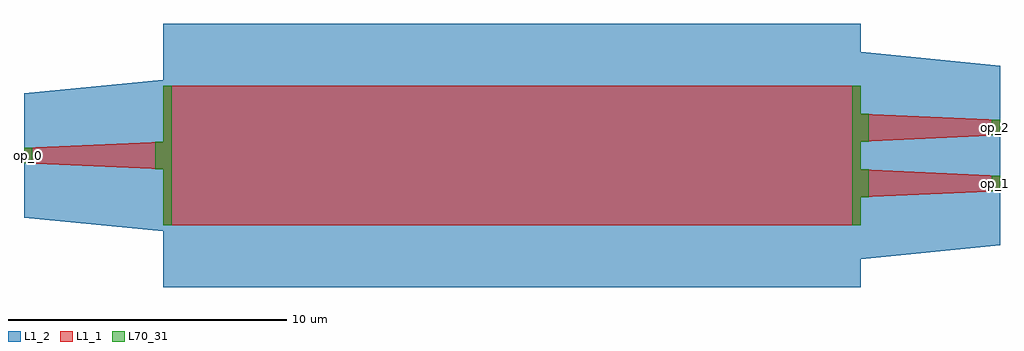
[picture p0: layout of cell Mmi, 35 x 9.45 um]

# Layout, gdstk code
import gdstk
lib = gdstk.Library(unit=1e-6, precision=1e-09)
def R(c, l, rs):  # rectangles x0, y0, x1, y1
    for r in rs: c.add(gdstk.rectangle(r[:2], r[2:], *l))
def P(c, l, *ps):  # polygons
    for p in ps: c.add(gdstk.Polygon(p, *l))
L1_1 = (1, 1)
L1_2 = (1, 2)
L70_31 = (70, 31)

c_wg = lib.new_cell('wg')
R(c_wg, L1_1, [(0,-2.5,25,2.5)])
P(c_wg, L1_2, [(0,4.725),(25,4.725),(25,2.5),(25,-2.5),(25,-4.725),(0,-4.725),(0,-2.5),(0,2.5)])
R(c_wg, L70_31, [(0,-2.5,0.3,2.5), (24.7,-2.5,25,2.5)])
c_wg.add(gdstk.Label('op_0', (0.15,0), layer=70, texttype=41))
c_wg.add(gdstk.Label('op_1', (24.85,0), layer=70, texttype=41))

straight = lib.new_cell('Straight')
R(straight, L70_31, [(0,-2.5,0.3,2.5), (24.7,-2.5,25,2.5)])
straight.add(gdstk.Reference(c_wg, (0,0)))
straight.add(gdstk.Label('op_0', (0.15,0), layer=70, texttype=41))
straight.add(gdstk.Label('op_1', (24.85,0), layer=70, texttype=41))

wg_x1 = lib.new_cell('wg_x1')
P(wg_x1, L1_1, [(-5,0.275),(0,0.5),(0,-0.5),(-5,-0.275)])
P(wg_x1, L1_2, [(-5,2.225),(0,2.725),(0,0.5),(0,-0.5),(0,-2.725),(-5,-2.225),(-5,-0.275),(-5,0.275)])
R(wg_x1, L70_31, [(-0.3,-0.5,0,0.5), (-5,-0.275,-4.7,0.275)])
wg_x1.add(gdstk.Label('op_0', (-4.85,0), layer=70, texttype=41))
wg_x1.add(gdstk.Label('op_1', (-0.15,0), layer=70, texttype=41))

taperlinear = lib.new_cell('TaperLinear')
R(taperlinear, L70_31, [(-0.3,-0.5,0,0.5), (-5,-0.275,-4.7,0.275)])
taperlinear.add(gdstk.Reference(wg_x1, (0,0)))
taperlinear.add(gdstk.Label('op_0', (-4.85,0), layer=70, texttype=41))
taperlinear.add(gdstk.Label('op_1', (-0.15,0), layer=70, texttype=41))

wg_x2 = lib.new_cell('wg_x2')
P(wg_x2, L1_1, [(0,0.5),(5,0.275),(5,-0.275),(0,-0.5)])
P(wg_x2, L1_2, [(0,2.725),(5,2.225),(5,0.275),(5,-0.275),(5,-2.225),(0,-2.725),(0,-0.5),(0,0.5)])
R(wg_x2, L70_31, [(0,-0.5,0.3,0.5), (4.7,-0.275,5,0.275)])
wg_x2.add(gdstk.Label('op_0', (0.15,0), layer=70, texttype=41))
wg_x2.add(gdstk.Label('op_1', (4.85,0), layer=70, texttype=41))

taperlinear_x1 = lib.new_cell('TaperLinear_x1')
R(taperlinear_x1, L70_31, [(0,-0.5,0.3,0.5), (4.7,-0.275,5,0.275)])
taperlinear_x1.add(gdstk.Reference(wg_x2, (0,0)))
taperlinear_x1.add(gdstk.Label('op_0', (0.15,0), layer=70, texttype=41))
taperlinear_x1.add(gdstk.Label('op_1', (4.85,0), layer=70, texttype=41))

mmi = lib.new_cell('Mmi')
R(mmi, L70_31, [(29.7,-1.275,30,-0.725), (-5,-0.275,-4.7,0.275), (29.7,0.725,30,1.275)])
mmi.add(gdstk.Reference(straight, (0,0)))
mmi.add(gdstk.Reference(taperlinear, (0,0)))
mmi.add(gdstk.Reference(taperlinear_x1, (25,-1)))
mmi.add(gdstk.Reference(taperlinear_x1, (25,1)))
mmi.add(gdstk.Label('op_0', (-4.85,0), layer=70, texttype=41))
mmi.add(gdstk.Label('op_1', (29.85,-1), layer=70, texttype=41))
mmi.add(gdstk.Label('op_2', (29.85,1), layer=70, texttype=41))

lib.write_gds('Mmi.gds')
